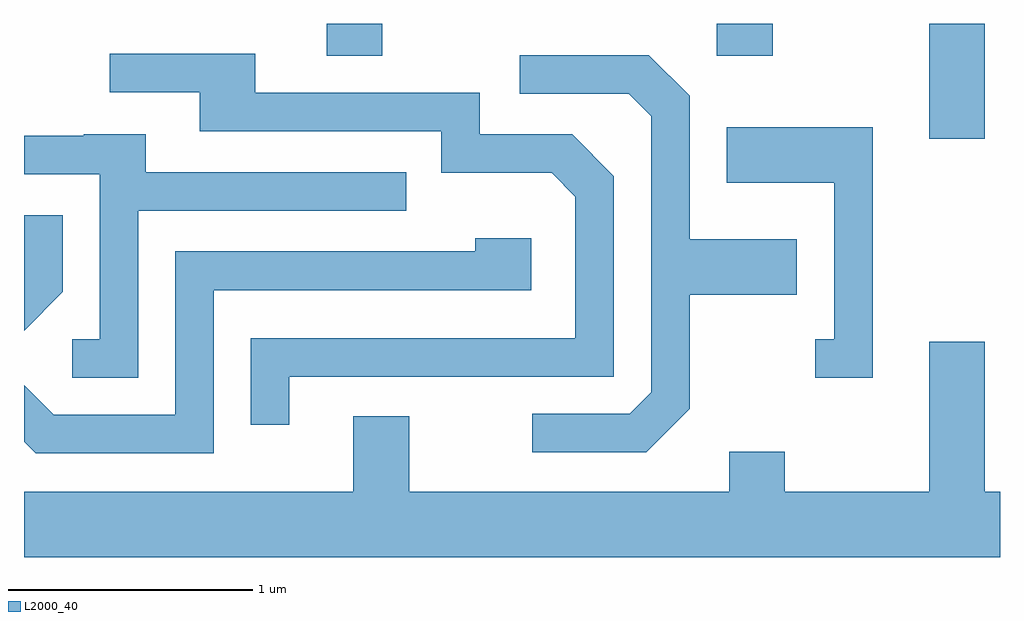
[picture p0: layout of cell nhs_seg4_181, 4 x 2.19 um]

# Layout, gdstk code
import gdstk
lib = gdstk.Library(unit=1e-6, precision=1e-09)
def R(c, l, rs):  # rectangles x0, y0, x1, y1
    for r in rs: c.add(gdstk.rectangle(r[:2], r[2:], *l))
def P(c, l, *ps):  # polygons
    for p in ps: c.add(gdstk.Polygon(p, *l))
L2000_40 = (2000, 40)

nhs_seg4_181 = lib.new_cell('nhs_seg4_181')
R(nhs_seg4_181, L2000_40, [(193.321,1347.511,193.549,1347.982), (190.851,1347.851,191.079,1347.982), (192.451,1347.851,192.679,1347.982)])
P(nhs_seg4_181, L2000_40, [(190.699,1346.536),(192.029,1346.536),(192.029,1347.357),(191.857,1347.529),(191.479,1347.529),(191.479,1347.699),(190.559,1347.699),(190.559,1347.859),(189.963,1347.859),(189.963,1347.701),(190.331,1347.701),(190.331,1347.541),(191.321,1347.541),(191.321,1347.371),(191.774,1347.371),(191.871,1347.274),(191.871,1346.694),(190.541,1346.694),(190.541,1346.338),(190.699,1346.338)],
  [(192.339,1346.404),(192.339,1346.871),(192.779,1346.871),(192.779,1347.099),(192.339,1347.099),(192.339,1347.687),(192.172,1347.854),(191.643,1347.854),(191.643,1347.696),(192.089,1347.696),(192.181,1347.604),(192.181,1346.472),(192.094,1346.384),(191.693,1346.384),(191.693,1346.226),(192.162,1346.226)],
  [(193.089,1347.559),(192.491,1347.559),(192.491,1347.331),(192.931,1347.331),(192.931,1346.689),(192.853,1346.689),(192.853,1346.531),(193.089,1346.531)],
  [(190.079,1347.216),(191.178,1347.216),(191.178,1347.374),(190.109,1347.374),(190.109,1347.529),(189.855,1347.529),(189.855,1347.524),(189.611,1347.524),(189.611,1347.366),(189.921,1347.366),(189.921,1346.689),(189.808,1346.689),(189.808,1346.531),(190.079,1346.531)],
  [(189.769,1346.884),(189.769,1347.198),(189.611,1347.198),(189.611,1346.725)],
  [(190.389,1346.891),(191.689,1346.891),(191.689,1347.104),(191.461,1347.104),(191.461,1347.049),(190.231,1347.049),(190.231,1346.379),(189.732,1346.379),(189.611,1346.5),(189.611,1346.269),(189.659,1346.221),(190.389,1346.221)],
  [(193.611,1346.064),(193.549,1346.064),(193.549,1346.679),(193.321,1346.679),(193.321,1346.064),(192.729,1346.064),(192.729,1346.229),(192.501,1346.229),(192.501,1346.064),(191.189,1346.064),(191.189,1346.374),(190.961,1346.374),(190.961,1346.064),(189.611,1346.064),(189.611,1345.796),(193.611,1345.796)])

lib.write_gds('nhs_seg4_181.gds')
